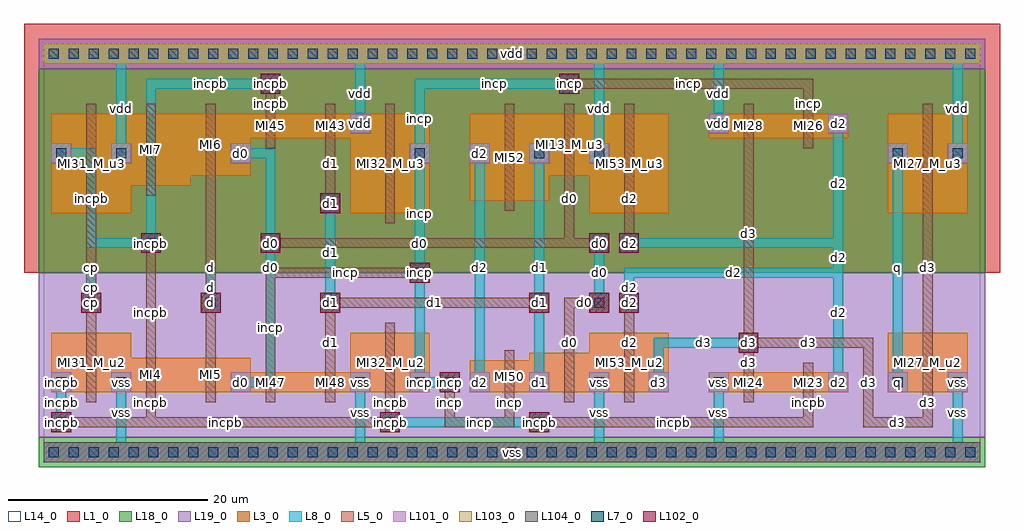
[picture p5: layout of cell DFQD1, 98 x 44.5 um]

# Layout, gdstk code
import gdstk
lib = gdstk.Library(unit=1e-6, precision=1e-09)
def R(c, l, rs):  # rectangles x0, y0, x1, y1
    for r in rs: c.add(gdstk.rectangle(r[:2], r[2:], *l))
def A(c, l, x, y, w, h, nx, ny, dx, dy):  # array of equal rectangles
    R(c, l, [(x+i*dx, y+j*dy, x+i*dx+w, y+j*dy+h) for i in range(nx) for j in range(ny)])
L1_0 = (1, 0)
L3_0 = (3, 0)
L5_0 = (5, 0)
L7_0 = (7, 0)
L8_0 = (8, 0)
L13_0 = (13, 0)
L14_0 = (14, 0)
L18_0 = (18, 0)
L19_0 = (19, 0)
L101_0 = (101, 0)
L102_0 = (102, 0)
L103_0 = (103, 0)
L104_0 = (104, 0)

dfqd1 = lib.new_cell('DFQD1')
R(dfqd1, L1_0, [(-2,18,96,43)])
A(dfqd1, L3_0, 6.75, 6, 2, 2, 3, 1, 12, 0)
A(dfqd1, L3_0, 36.75, 6, 2, 2, 6, 1, 6, 0)
A(dfqd1, L3_0, 78.75, 6, 2, 2, 3, 1, 6, 0)
A(dfqd1, L3_0, 36.75, 29, 2, 2, 4, 1, 6, 0)
R(dfqd1, L3_0, [(0,-1,94,1), (0,-1,94,1), (0.75,6,8.75,12), (0.75,6,2.75,8), (6.75,6,14.75,9.5), (12.75,6,20.75,9.5), (18.75,6,26.75,8), (24.75,6,32.75,8), (30.75,6,38.75,12), (42.75,6,50.75,9.25), (48.75,6,56.75,10), (54.75,6,62.75,12), (66.75,6,74.75,8), (72.75,6,80.75,8), (84.75,6,92.75,12), (0.75,24,8.75,34), (30.75,24,38.75,34), (54.75,24,62.75,34), (84.75,24,92.75,34), (42.75,25.25,50.75,34), (6.75,26.75,14.75,34), (12.75,27.75,20.75,34), (48.75,27.75,56.75,34), (0.75,29,2.75,31), (6.75,29,8.75,31), (18.75,29,20.75,31), (84.75,29,86.75,31), (90.75,29,92.75,31), (18.75,31.5,26.75,34), (24.75,31.5,32.75,34), (66.75,31.5,74.75,34), (72.75,31.5,80.75,34), (30.75,32,32.75,34), (66.75,32,68.75,34), (78.75,32,80.75,34), (0,39,94,41), (0,39,94,41)])
A(dfqd1, L5_0, 34.25, 2.5, 1, 5, 3, 1, 6, 0)
A(dfqd1, L5_0, 3.75, 14, 2, 2, 3, 1, 12, 0)
R(dfqd1, L5_0, [(0.75,2,2.75,4), (33.75,2,35.75,4), (48.75,2,50.75,4), (1.25,2.5,35.25,3.5), (10.25,2.5,11.25,7.5), (40.25,2.5,47.25,3.5), (49.25,2.5,77.25,3.5), (76.25,2.5,77.25,7.5), (82.25,2.5,83.25,11.5), (82.25,2.5,89.25,3.5), (88.25,2.5,89.25,7.5), (4.25,5,5.25,13), (10.25,5,11.25,10.5), (16.25,5,17.25,10.5), (22.25,5,23.25,9), (28.25,5,29.25,9), (34.25,5,35.25,13), (46.25,5,47.25,10.25), (52.25,5,53.25,11), (58.25,5,59.25,13), (70.25,5,71.25,9), (76.25,5,77.25,9), (88.25,5,89.25,13), (39.75,6,41.75,8), (4.25,6.5,5.25,30.5), (10.25,6.5,11.25,21.5), (16.25,6.5,17.25,30.5), (22.25,6.5,23.25,18.5), (28.25,6.5,29.25,15.5), (52.25,6.5,53.25,15.5), (58.25,6.5,59.25,15.5), (70.25,6.5,71.25,11.5), (88.25,6.5,89.25,30.5), (69.75,10,71.75,12), (70.25,10.5,83.25,11.5), (70.25,10.5,71.25,33.5), (48.75,14,50.75,16), (54.75,14,56.75,16), (57.75,14,59.75,16), (28.25,14.5,50.25,15.5), (52.25,14.5,56.25,15.5), (36.75,17,38.75,19), (22.25,17.5,38.25,18.5), (9.75,20,11.75,22), (21.75,20,23.75,22), (54.75,20,56.75,22), (57.75,20,59.75,22), (22.25,20.5,53.25,21.5), (52.25,20.5,53.25,30.5), (52.25,20.5,56.25,21.5), (58.25,20.5,59.25,30.5), (4.25,23,5.25,35), (34.25,23,35.25,35), (58.25,23,59.25,35), (88.25,23,89.25,35), (27.75,24,29.75,26), (46.25,24.25,47.25,35), (28.25,24.5,29.25,33.5), (10.25,25.75,11.25,35), (16.25,26.75,17.25,35), (52.25,26.75,53.25,35), (22.25,30.5,23.25,35), (28.25,30.5,29.25,35), (70.25,30.5,71.25,35), (76.25,30.5,77.25,35), (22.25,32.5,23.25,37.5), (76.25,32.5,77.25,37.5), (21.75,36,23.75,38), (51.75,36,53.75,38), (52.25,36.5,77.25,37.5)])
A(dfqd1, L7_0, 0.5, -0.5, 1, 1, 47, 2, 2, 40)
A(dfqd1, L7_0, 7.25, 6.5, 1, 1, 3, 1, 12, 0)
A(dfqd1, L7_0, 37.25, 6.5, 1, 1, 3, 1, 3, 0)
A(dfqd1, L7_0, 49.25, 6.5, 1, 1, 4, 1, 6, 0)
A(dfqd1, L7_0, 79.25, 6.5, 1, 1, 3, 1, 6, 0)
A(dfqd1, L7_0, 4.25, 14.5, 1, 1, 3, 1, 12, 0)
A(dfqd1, L7_0, 37.25, 29.5, 1, 1, 4, 1, 6, 0)
R(dfqd1, L7_0, [(1.25,2.5,2.25,3.5), (34.25,2.5,35.25,3.5), (49.25,2.5,50.25,3.5), (1.25,6.5,2.25,7.5), (70.25,10.5,71.25,11.5), (49.25,14.5,50.25,15.5), (55.25,14.5,56.25,15.5), (58.25,14.5,59.25,15.5), (37.25,17.5,38.25,18.5), (10.25,20.5,11.25,21.5), (22.25,20.5,23.25,21.5), (55.25,20.5,56.25,21.5), (58.25,20.5,59.25,21.5), (28.25,24.5,29.25,25.5), (1.25,29.5,2.25,30.5), (7.25,29.5,8.25,30.5), (19.25,29.5,20.25,30.5), (85.25,29.5,86.25,30.5), (91.25,29.5,92.25,30.5), (31.25,32.5,32.25,33.5), (67.25,32.5,68.25,33.5), (79.25,32.5,80.25,33.5), (22.25,36.5,23.25,37.5), (52.25,36.5,53.25,37.5)])
A(dfqd1, L8_0, 7.25, 0.5, 1, 7, 3, 1, 24, 0)
A(dfqd1, L8_0, 6.75, 6, 2, 2, 3, 1, 12, 0)
A(dfqd1, L8_0, 36.75, 6, 2, 2, 3, 1, 3, 0)
A(dfqd1, L8_0, 48.75, 6, 2, 2, 4, 1, 6, 0)
A(dfqd1, L8_0, 78.75, 6, 2, 2, 3, 1, 6, 0)
A(dfqd1, L8_0, 37.25, 6.5, 1, 24, 3, 1, 6, 0)
A(dfqd1, L8_0, 3.75, 14, 2, 2, 3, 1, 12, 0)
A(dfqd1, L8_0, 36.75, 29, 2, 2, 4, 1, 6, 0)
R(dfqd1, L8_0, [(0,-1,94,1), (67.25,0.5,68.25,7.5), (91.25,0.5,92.25,7.5), (0.75,2,2.75,4), (33.75,2,35.75,4), (48.75,2,50.75,4), (1.25,2.5,2.25,7.5), (34.25,2.5,50.25,3.5), (0.75,6,2.75,8), (19.25,6.5,23.25,7.5), (22.25,6.5,23.25,30.5), (37.25,6.5,41.25,7.5), (61.25,6.5,62.25,11.5), (79.25,6.5,80.25,21.5), (85.25,6.5,86.25,30.5), (69.75,10,71.75,12), (61.25,10.5,71.25,11.5), (48.75,14,50.75,16), (54.75,14,56.75,16), (57.75,14,59.75,16), (4.25,14.5,5.25,18.5), (16.25,14.5,17.25,18.5), (28.25,14.5,29.25,25.5), (55.25,14.5,56.25,21.5), (58.25,14.5,59.25,18.5), (36.75,17,38.75,19), (37.25,17.5,38.25,30.5), (58.25,17.5,80.25,18.5), (79.25,17.5,80.25,21.5), (9.75,20,11.75,22), (21.75,20,23.75,22), (54.75,20,56.75,22), (57.75,20,59.75,22), (4.25,20.5,11.25,21.5), (4.25,20.5,5.25,30.5), (10.25,20.5,11.25,37.5), (58.25,20.5,80.25,21.5), (79.25,20.5,80.25,33.5), (27.75,24,29.75,26), (0.75,29,2.75,31), (6.75,29,8.75,31), (18.75,29,20.75,31), (84.75,29,86.75,31), (90.75,29,92.75,31), (1.25,29.5,5.25,30.5), (7.25,29.5,8.25,39.5), (19.25,29.5,23.25,30.5), (37.25,29.5,38.25,37.5), (55.25,29.5,56.25,39.5), (91.25,29.5,92.25,39.5), (30.75,32,32.75,34), (66.75,32,68.75,34), (78.75,32,80.75,34), (31.25,32.5,32.25,39.5), (67.25,32.5,68.25,39.5), (21.75,36,23.75,38), (51.75,36,53.75,38), (10.25,36.5,23.25,37.5), (37.25,36.5,53.25,37.5), (0,39,94,41)])
R(dfqd1, L14_0, [(0,0,94,40)])
R(dfqd1, L18_0, [(-0.5,-1.5,94.5,1.5), (-0.5,18,94.5,38.5)])
R(dfqd1, L19_0, [(-0.5,1.5,94.5,18), (-0.5,38.5,94.5,41.5)])
A(dfqd1, L101_0, 0, -1, 2, 2, 47, 2, 2, 40)
A(dfqd1, L101_0, 6.75, 6, 2, 2, 3, 1, 12, 0)
A(dfqd1, L101_0, 36.75, 6, 2, 2, 6, 1, 6, 0)
A(dfqd1, L101_0, 78.75, 6, 2, 2, 3, 1, 6, 0)
A(dfqd1, L101_0, 36.75, 29, 2, 2, 4, 1, 6, 0)
R(dfqd1, L101_0, [(0.75,6,2.75,8), (0.75,29,2.75,31), (6.75,29,8.75,31), (18.75,29,20.75,31), (84.75,29,86.75,31), (90.75,29,92.75,31), (30.75,32,32.75,34), (66.75,32,68.75,34), (78.75,32,80.75,34)])
A(dfqd1, L102_0, 3.75, 14, 2, 2, 3, 1, 12, 0)
R(dfqd1, L102_0, [(0.75,2,2.75,4), (33.75,2,35.75,4), (48.75,2,50.75,4), (39.75,6,41.75,8), (69.75,10,71.75,12), (48.75,14,50.75,16), (54.75,14,56.75,16), (57.75,14,59.75,16), (36.75,17,38.75,19), (9.75,20,11.75,22), (21.75,20,23.75,22), (54.75,20,56.75,22), (57.75,20,59.75,22), (27.75,24,29.75,26), (21.75,36,23.75,38), (51.75,36,53.75,38)])
R(dfqd1, L103_0, [(0,39,94,41)])
R(dfqd1, L104_0, [(0,-1,94,1)])
dfqd1.add(gdstk.FlexPath([(0.75,3),(92.75,3)], 0, ends="flush", simple_path=True, layer=13, datatype=0))  # L13_0
dfqd1.add(gdstk.FlexPath([(0.75,7),(92.75,7)], 0, ends="flush", simple_path=True, layer=13, datatype=0))  # L13_0
dfqd1.add(gdstk.FlexPath([(0.75,11),(92.75,11)], 0, ends="flush", simple_path=True, layer=13, datatype=0))  # L13_0
dfqd1.add(gdstk.FlexPath([(0.75,15),(92.75,15)], 0, ends="flush", simple_path=True, layer=13, datatype=0))  # L13_0
dfqd1.add(gdstk.FlexPath([(0.75,18),(92.75,18)], 0, ends="flush", simple_path=True, layer=13, datatype=0))  # L13_0
dfqd1.add(gdstk.FlexPath([(0.75,21),(92.75,21)], 0, ends="flush", simple_path=True, layer=13, datatype=0))  # L13_0
dfqd1.add(gdstk.FlexPath([(0.75,25),(92.75,25)], 0, ends="flush", simple_path=True, layer=13, datatype=0))  # L13_0
dfqd1.add(gdstk.FlexPath([(0.75,30),(92.75,30)], 0, ends="flush", simple_path=True, layer=13, datatype=0))  # L13_0
dfqd1.add(gdstk.FlexPath([(0.75,33),(92.75,33)], 0, ends="flush", simple_path=True, layer=13, datatype=0))  # L13_0
dfqd1.add(gdstk.FlexPath([(0.75,37),(92.75,37)], 0, ends="flush", simple_path=True, layer=13, datatype=0))  # L13_0
dfqd1.add(gdstk.FlexPath([(1.75,0.5),(1.75,39.5)], 0, ends="flush", simple_path=True, layer=13, datatype=0))  # L13_0
dfqd1.add(gdstk.FlexPath([(4.75,0.5),(4.75,39.5)], 0, ends="flush", simple_path=True, layer=13, datatype=0))  # L13_0
dfqd1.add(gdstk.FlexPath([(7.75,0.5),(7.75,39.5)], 0, ends="flush", simple_path=True, layer=13, datatype=0))  # L13_0
dfqd1.add(gdstk.FlexPath([(10.75,0.5),(10.75,39.5)], 0, ends="flush", simple_path=True, layer=13, datatype=0))  # L13_0
dfqd1.add(gdstk.FlexPath([(13.75,0.5),(13.75,39.5)], 0, ends="flush", simple_path=True, layer=13, datatype=0))  # L13_0
dfqd1.add(gdstk.FlexPath([(16.75,0.5),(16.75,39.5)], 0, ends="flush", simple_path=True, layer=13, datatype=0))  # L13_0
dfqd1.add(gdstk.FlexPath([(19.75,0.5),(19.75,39.5)], 0, ends="flush", simple_path=True, layer=13, datatype=0))  # L13_0
dfqd1.add(gdstk.FlexPath([(22.75,0.5),(22.75,39.5)], 0, ends="flush", simple_path=True, layer=13, datatype=0))  # L13_0
dfqd1.add(gdstk.FlexPath([(25.75,0.5),(25.75,39.5)], 0, ends="flush", simple_path=True, layer=13, datatype=0))  # L13_0
dfqd1.add(gdstk.FlexPath([(28.75,0.5),(28.75,39.5)], 0, ends="flush", simple_path=True, layer=13, datatype=0))  # L13_0
dfqd1.add(gdstk.FlexPath([(31.75,0.5),(31.75,39.5)], 0, ends="flush", simple_path=True, layer=13, datatype=0))  # L13_0
dfqd1.add(gdstk.FlexPath([(34.75,0.5),(34.75,39.5)], 0, ends="flush", simple_path=True, layer=13, datatype=0))  # L13_0
dfqd1.add(gdstk.FlexPath([(37.75,0.5),(37.75,39.5)], 0, ends="flush", simple_path=True, layer=13, datatype=0))  # L13_0
dfqd1.add(gdstk.FlexPath([(40.75,0.5),(40.75,39.5)], 0, ends="flush", simple_path=True, layer=13, datatype=0))  # L13_0
dfqd1.add(gdstk.FlexPath([(43.75,0.5),(43.75,39.5)], 0, ends="flush", simple_path=True, layer=13, datatype=0))  # L13_0
dfqd1.add(gdstk.FlexPath([(46.75,0.5),(46.75,39.5)], 0, ends="flush", simple_path=True, layer=13, datatype=0))  # L13_0
dfqd1.add(gdstk.FlexPath([(49.75,0.5),(49.75,39.5)], 0, ends="flush", simple_path=True, layer=13, datatype=0))  # L13_0
dfqd1.add(gdstk.FlexPath([(52.75,0.5),(52.75,39.5)], 0, ends="flush", simple_path=True, layer=13, datatype=0))  # L13_0
dfqd1.add(gdstk.FlexPath([(55.75,0.5),(55.75,39.5)], 0, ends="flush", simple_path=True, layer=13, datatype=0))  # L13_0
dfqd1.add(gdstk.FlexPath([(58.75,0.5),(58.75,39.5)], 0, ends="flush", simple_path=True, layer=13, datatype=0))  # L13_0
dfqd1.add(gdstk.FlexPath([(61.75,0.5),(61.75,39.5)], 0, ends="flush", simple_path=True, layer=13, datatype=0))  # L13_0
dfqd1.add(gdstk.FlexPath([(64.75,0.5),(64.75,39.5)], 0, ends="flush", simple_path=True, layer=13, datatype=0))  # L13_0
dfqd1.add(gdstk.FlexPath([(67.75,0.5),(67.75,39.5)], 0, ends="flush", simple_path=True, layer=13, datatype=0))  # L13_0
dfqd1.add(gdstk.FlexPath([(70.75,0.5),(70.75,39.5)], 0, ends="flush", simple_path=True, layer=13, datatype=0))  # L13_0
dfqd1.add(gdstk.FlexPath([(73.75,0.5),(73.75,39.5)], 0, ends="flush", simple_path=True, layer=13, datatype=0))  # L13_0
dfqd1.add(gdstk.FlexPath([(76.75,0.5),(76.75,39.5)], 0, ends="flush", simple_path=True, layer=13, datatype=0))  # L13_0
dfqd1.add(gdstk.FlexPath([(79.75,0.5),(79.75,39.5)], 0, ends="flush", simple_path=True, layer=13, datatype=0))  # L13_0
dfqd1.add(gdstk.FlexPath([(82.75,0.5),(82.75,39.5)], 0, ends="flush", simple_path=True, layer=13, datatype=0))  # L13_0
dfqd1.add(gdstk.FlexPath([(85.75,0.5),(85.75,39.5)], 0, ends="flush", simple_path=True, layer=13, datatype=0))  # L13_0
dfqd1.add(gdstk.FlexPath([(88.75,0.5),(88.75,39.5)], 0, ends="flush", simple_path=True, layer=13, datatype=0))  # L13_0
dfqd1.add(gdstk.FlexPath([(91.75,0.5),(91.75,39.5)], 0, ends="flush", simple_path=True, layer=13, datatype=0))  # L13_0
dfqd1.add(gdstk.Label('MI4', (10.75,7.75), layer=3, texttype=0))
dfqd1.add(gdstk.Label('MI23', (76.75,7), layer=3, texttype=0))
dfqd1.add(gdstk.Label('MI5', (16.75,7.75), layer=3, texttype=0))
dfqd1.add(gdstk.Label('MI47', (22.75,7), layer=3, texttype=0))
dfqd1.add(gdstk.Label('MI48', (28.75,7), layer=3, texttype=0))
dfqd1.add(gdstk.Label('MI24', (70.75,7), layer=3, texttype=0))
dfqd1.add(gdstk.Label('MI50', (46.75,7.625), layer=3, texttype=0))
dfqd1.add(gdstk.Label('MI32_M_u2', (34.75,9), layer=3, texttype=0))
dfqd1.add(gdstk.Label('MI31_M_u2', (4.75,9), layer=3, texttype=0))
dfqd1.add(gdstk.Label('MI27_M_u2', (88.75,9), layer=3, texttype=0))
dfqd1.add(gdstk.Label('MI53_M_u2', (58.75,9), layer=3, texttype=0))
dfqd1.add(gdstk.Label('MI13_M_u2', (52.75,8), layer=3, texttype=0))
dfqd1.add(gdstk.Label('MI6', (16.75,30.875), layer=3, texttype=0))
dfqd1.add(gdstk.Label('MI32_M_u3', (34.75,29), layer=3, texttype=0))
dfqd1.add(gdstk.Label('MI31_M_u3', (4.75,29), layer=3, texttype=0))
dfqd1.add(gdstk.Label('MI27_M_u3', (88.75,29), layer=3, texttype=0))
dfqd1.add(gdstk.Label('MI53_M_u3', (58.75,29), layer=3, texttype=0))
dfqd1.add(gdstk.Label('MI13_M_u3', (52.75,30.875), layer=3, texttype=0))
dfqd1.add(gdstk.Label('MI7', (10.75,30.375), layer=3, texttype=0))
dfqd1.add(gdstk.Label('MI52', (46.75,29.625), layer=3, texttype=0))
dfqd1.add(gdstk.Label('MI28', (70.75,32.75), layer=3, texttype=0))
dfqd1.add(gdstk.Label('MI26', (76.75,32.75), layer=3, texttype=0))
dfqd1.add(gdstk.Label('MI45', (22.75,32.75), layer=3, texttype=0))
dfqd1.add(gdstk.Label('MI43', (28.75,32.75), layer=3, texttype=0))
dfqd1.add(gdstk.Label('incpb', (1.75,7), layer=3, texttype=0))
dfqd1.add(gdstk.Label('incpb', (1.75,30), layer=3, texttype=0))
dfqd1.add(gdstk.Label('d2', (79.75,7), layer=3, texttype=0))
dfqd1.add(gdstk.Label('d2', (43.75,7), layer=3, texttype=0))
dfqd1.add(gdstk.Label('d2', (43.75,30), layer=3, texttype=0))
dfqd1.add(gdstk.Label('d2', (79.75,33), layer=3, texttype=0))
dfqd1.add(gdstk.Label('d0', (19.75,7), layer=3, texttype=0))
dfqd1.add(gdstk.Label('d0', (19.75,30), layer=3, texttype=0))
dfqd1.add(gdstk.Label('incp', (37.75,7), layer=3, texttype=0))
dfqd1.add(gdstk.Label('incp', (37.75,30), layer=3, texttype=0))
dfqd1.add(gdstk.Label('d1', (49.75,7), layer=3, texttype=0))
dfqd1.add(gdstk.Label('d1', (49.75,30), layer=3, texttype=0))
dfqd1.add(gdstk.Label('d3', (61.75,7), layer=3, texttype=0))
dfqd1.add(gdstk.Label('q', (85.75,7), layer=3, texttype=0))
dfqd1.add(gdstk.Label('q', (85.75,30), layer=3, texttype=0))
dfqd1.add(gdstk.Label('vss', (7.75,7), layer=3, texttype=0))
dfqd1.add(gdstk.Label('vss', (31.75,7), layer=3, texttype=0))
dfqd1.add(gdstk.Label('vss', (67.75,7), layer=3, texttype=0))
dfqd1.add(gdstk.Label('vss', (91.75,7), layer=3, texttype=0))
dfqd1.add(gdstk.Label('vss', (55.75,7), layer=3, texttype=0))
dfqd1.add(gdstk.Label('vdd', (31.75,33), layer=3, texttype=0))
dfqd1.add(gdstk.Label('vdd', (7.75,30), layer=3, texttype=0))
dfqd1.add(gdstk.Label('vdd', (91.75,30), layer=3, texttype=0))
dfqd1.add(gdstk.Label('vdd', (55.75,30), layer=3, texttype=0))
dfqd1.add(gdstk.Label('vdd', (67.75,33), layer=3, texttype=0))
dfqd1.add(gdstk.Label('incpb', (10.75,14), layer=5, texttype=0))
dfqd1.add(gdstk.Label('incpb', (10.75,21), layer=5, texttype=0))
dfqd1.add(gdstk.Label('incpb', (76.75,5), layer=5, texttype=0))
dfqd1.add(gdstk.Label('incpb', (63.25,3), layer=5, texttype=0))
dfqd1.add(gdstk.Label('incpb', (49.75,3), layer=5, texttype=0))
dfqd1.add(gdstk.Label('incpb', (34.75,3), layer=5, texttype=0))
dfqd1.add(gdstk.Label('incpb', (34.75,5), layer=5, texttype=0))
dfqd1.add(gdstk.Label('incpb', (18.25,3), layer=5, texttype=0))
dfqd1.add(gdstk.Label('incpb', (1.75,3), layer=5, texttype=0))
dfqd1.add(gdstk.Label('incpb', (10.75,5), layer=5, texttype=0))
dfqd1.add(gdstk.Label('incpb', (22.75,37), layer=5, texttype=0))
dfqd1.add(gdstk.Label('incpb', (22.75,35), layer=5, texttype=0))
dfqd1.add(gdstk.Label('d2', (58.75,21), layer=5, texttype=0))
dfqd1.add(gdstk.Label('d2', (58.75,25.5), layer=5, texttype=0))
dfqd1.add(gdstk.Label('d2', (58.75,11), layer=5, texttype=0))
dfqd1.add(gdstk.Label('d2', (58.75,15), layer=5, texttype=0))
dfqd1.add(gdstk.Label('d0', (22.75,21), layer=5, texttype=0))
dfqd1.add(gdstk.Label('d0', (37.75,21), layer=5, texttype=0))
dfqd1.add(gdstk.Label('d0', (52.75,25.5), layer=5, texttype=0))
dfqd1.add(gdstk.Label('d0', (52.75,11), layer=5, texttype=0))
dfqd1.add(gdstk.Label('d0', (54.25,15), layer=5, texttype=0))
dfqd1.add(gdstk.Label('d0', (55.75,15), layer=5, texttype=0))
dfqd1.add(gdstk.Label('d0', (55.75,21), layer=5, texttype=0))
dfqd1.add(gdstk.Label('d0', (54.25,21), layer=5, texttype=0))
dfqd1.add(gdstk.Label('d', (16.75,18.5), layer=5, texttype=0))
dfqd1.add(gdstk.Label('d', (16.75,15), layer=5, texttype=0))
dfqd1.add(gdstk.Label('incp', (22.75,12.5), layer=5, texttype=0))
dfqd1.add(gdstk.Label('incp', (30.25,18), layer=5, texttype=0))
dfqd1.add(gdstk.Label('incp', (37.75,18), layer=5, texttype=0))
dfqd1.add(gdstk.Label('incp', (52.75,37), layer=5, texttype=0))
dfqd1.add(gdstk.Label('incp', (64.75,37), layer=5, texttype=0))
dfqd1.add(gdstk.Label('incp', (76.75,35), layer=5, texttype=0))
dfqd1.add(gdstk.Label('incp', (46.75,5), layer=5, texttype=0))
dfqd1.add(gdstk.Label('incp', (43.75,3), layer=5, texttype=0))
dfqd1.add(gdstk.Label('incp', (40.75,5), layer=5, texttype=0))
dfqd1.add(gdstk.Label('incp', (40.75,7), layer=5, texttype=0))
dfqd1.add(gdstk.Label('d1', (28.75,11), layer=5, texttype=0))
dfqd1.add(gdstk.Label('d1', (28.75,15), layer=5, texttype=0))
dfqd1.add(gdstk.Label('d1', (28.75,25), layer=5, texttype=0))
dfqd1.add(gdstk.Label('d1', (28.75,29), layer=5, texttype=0))
dfqd1.add(gdstk.Label('d1', (49.75,15), layer=5, texttype=0))
dfqd1.add(gdstk.Label('d1', (39.25,15), layer=5, texttype=0))
dfqd1.add(gdstk.Label('d3', (70.75,9), layer=5, texttype=0))
dfqd1.add(gdstk.Label('d3', (76.75,11), layer=5, texttype=0))
dfqd1.add(gdstk.Label('d3', (82.75,7), layer=5, texttype=0))
dfqd1.add(gdstk.Label('d3', (85.75,3), layer=5, texttype=0))
dfqd1.add(gdstk.Label('d3', (88.75,5), layer=5, texttype=0))
dfqd1.add(gdstk.Label('d3', (70.75,11), layer=5, texttype=0))
dfqd1.add(gdstk.Label('d3', (88.75,18.5), layer=5, texttype=0))
dfqd1.add(gdstk.Label('d3', (70.75,22), layer=5, texttype=0))
dfqd1.add(gdstk.Label('cp', (4.75,18.5), layer=5, texttype=0))
dfqd1.add(gdstk.Label('cp', (4.75,15), layer=5, texttype=0))
dfqd1.add(gdstk.Label('incpb', (1.75,7), layer=101, texttype=0))
dfqd1.add(gdstk.Label('incpb', (1.75,30), layer=101, texttype=0))
dfqd1.add(gdstk.Label('d2', (79.75,7), layer=101, texttype=0))
dfqd1.add(gdstk.Label('d2', (43.75,7), layer=101, texttype=0))
dfqd1.add(gdstk.Label('d2', (43.75,30), layer=101, texttype=0))
dfqd1.add(gdstk.Label('d2', (79.75,33), layer=101, texttype=0))
dfqd1.add(gdstk.Label('d0', (19.75,7), layer=101, texttype=0))
dfqd1.add(gdstk.Label('d0', (19.75,30), layer=101, texttype=0))
dfqd1.add(gdstk.Label('incp', (37.75,7), layer=101, texttype=0))
dfqd1.add(gdstk.Label('incp', (37.75,30), layer=101, texttype=0))
dfqd1.add(gdstk.Label('d1', (49.75,7), layer=101, texttype=0))
dfqd1.add(gdstk.Label('d1', (49.75,30), layer=101, texttype=0))
dfqd1.add(gdstk.Label('d3', (61.75,7), layer=101, texttype=0))
dfqd1.add(gdstk.Label('q', (85.75,7), layer=101, texttype=0))
dfqd1.add(gdstk.Label('q', (85.75,30), layer=101, texttype=0))
dfqd1.add(gdstk.Label('vss', (7.75,7), layer=101, texttype=0))
dfqd1.add(gdstk.Label('vss', (31.75,7), layer=101, texttype=0))
dfqd1.add(gdstk.Label('vss', (67.75,7), layer=101, texttype=0))
dfqd1.add(gdstk.Label('vss', (91.75,7), layer=101, texttype=0))
dfqd1.add(gdstk.Label('vss', (55.75,7), layer=101, texttype=0))
dfqd1.add(gdstk.Label('vdd', (31.75,33), layer=101, texttype=0))
dfqd1.add(gdstk.Label('vdd', (7.75,30), layer=101, texttype=0))
dfqd1.add(gdstk.Label('vdd', (91.75,30), layer=101, texttype=0))
dfqd1.add(gdstk.Label('vdd', (55.75,30), layer=101, texttype=0))
dfqd1.add(gdstk.Label('vdd', (67.75,33), layer=101, texttype=0))
dfqd1.add(gdstk.Label('incpb', (10.75,21), layer=102, texttype=0))
dfqd1.add(gdstk.Label('incpb', (49.75,3), layer=102, texttype=0))
dfqd1.add(gdstk.Label('incpb', (34.75,3), layer=102, texttype=0))
dfqd1.add(gdstk.Label('incpb', (1.75,3), layer=102, texttype=0))
dfqd1.add(gdstk.Label('incpb', (22.75,37), layer=102, texttype=0))
dfqd1.add(gdstk.Label('d2', (58.75,21), layer=102, texttype=0))
dfqd1.add(gdstk.Label('d2', (58.75,15), layer=102, texttype=0))
dfqd1.add(gdstk.Label('d0', (22.75,21), layer=102, texttype=0))
dfqd1.add(gdstk.Label('d0', (55.75,15), layer=102, texttype=0))
dfqd1.add(gdstk.Label('d0', (55.75,21), layer=102, texttype=0))
dfqd1.add(gdstk.Label('d', (16.75,15), layer=102, texttype=0))
dfqd1.add(gdstk.Label('incp', (37.75,18), layer=102, texttype=0))
dfqd1.add(gdstk.Label('incp', (52.75,37), layer=102, texttype=0))
dfqd1.add(gdstk.Label('incp', (40.75,7), layer=102, texttype=0))
dfqd1.add(gdstk.Label('d1', (28.75,15), layer=102, texttype=0))
dfqd1.add(gdstk.Label('d1', (28.75,25), layer=102, texttype=0))
dfqd1.add(gdstk.Label('d1', (49.75,15), layer=102, texttype=0))
dfqd1.add(gdstk.Label('d3', (70.75,11), layer=102, texttype=0))
dfqd1.add(gdstk.Label('cp', (4.75,15), layer=102, texttype=0))
dfqd1.add(gdstk.Label('incpb', (1.75,7), layer=8, texttype=0))
dfqd1.add(gdstk.Label('incpb', (1.75,30), layer=8, texttype=0))
dfqd1.add(gdstk.Label('incpb', (10.75,21), layer=8, texttype=0))
dfqd1.add(gdstk.Label('incpb', (7.75,21), layer=8, texttype=0))
dfqd1.add(gdstk.Label('incpb', (4.75,25.5), layer=8, texttype=0))
dfqd1.add(gdstk.Label('incpb', (3.25,30), layer=8, texttype=0))
dfqd1.add(gdstk.Label('incpb', (49.75,3), layer=8, texttype=0))
dfqd1.add(gdstk.Label('incpb', (42.25,3), layer=8, texttype=0))
dfqd1.add(gdstk.Label('incpb', (34.75,3), layer=8, texttype=0))
dfqd1.add(gdstk.Label('incpb', (1.75,3), layer=8, texttype=0))
dfqd1.add(gdstk.Label('incpb', (1.75,5), layer=8, texttype=0))
dfqd1.add(gdstk.Label('incpb', (10.75,29), layer=8, texttype=0))
dfqd1.add(gdstk.Label('incpb', (16.75,37), layer=8, texttype=0))
dfqd1.add(gdstk.Label('incpb', (22.75,37), layer=8, texttype=0))
dfqd1.add(gdstk.Label('d2', (79.75,7), layer=8, texttype=0))
dfqd1.add(gdstk.Label('d2', (43.75,7), layer=8, texttype=0))
dfqd1.add(gdstk.Label('d2', (43.75,30), layer=8, texttype=0))
dfqd1.add(gdstk.Label('d2', (79.75,33), layer=8, texttype=0))
dfqd1.add(gdstk.Label('d2', (79.75,14), layer=8, texttype=0))
dfqd1.add(gdstk.Label('d2', (69.25,21), layer=8, texttype=0))
dfqd1.add(gdstk.Label('d2', (58.75,21), layer=8, texttype=0))
dfqd1.add(gdstk.Label('d2', (79.75,27), layer=8, texttype=0))
dfqd1.add(gdstk.Label('d2', (43.75,18.5), layer=8, texttype=0))
dfqd1.add(gdstk.Label('d2', (58.75,15), layer=8, texttype=0))
dfqd1.add(gdstk.Label('d2', (58.75,16.5), layer=8, texttype=0))
dfqd1.add(gdstk.Label('d2', (69.25,18), layer=8, texttype=0))
dfqd1.add(gdstk.Label('d2', (79.75,19.5), layer=8, texttype=0))
dfqd1.add(gdstk.Label('d0', (19.75,7), layer=8, texttype=0))
dfqd1.add(gdstk.Label('d0', (19.75,30), layer=8, texttype=0))
dfqd1.add(gdstk.Label('d0', (21.25,7), layer=8, texttype=0))
dfqd1.add(gdstk.Label('d0', (22.75,18.5), layer=8, texttype=0))
dfqd1.add(gdstk.Label('d0', (21.25,30), layer=8, texttype=0))
dfqd1.add(gdstk.Label('d0', (22.75,21), layer=8, texttype=0))
dfqd1.add(gdstk.Label('d0', (55.75,15), layer=8, texttype=0))
dfqd1.add(gdstk.Label('d0', (55.75,18), layer=8, texttype=0))
dfqd1.add(gdstk.Label('d0', (55.75,21), layer=8, texttype=0))
dfqd1.add(gdstk.Label('d', (16.75,15), layer=8, texttype=0))
dfqd1.add(gdstk.Label('d', (16.75,16.5), layer=8, texttype=0))
dfqd1.add(gdstk.Label('incp', (37.75,7), layer=8, texttype=0))
dfqd1.add(gdstk.Label('incp', (37.75,30), layer=8, texttype=0))
dfqd1.add(gdstk.Label('incp', (37.75,18), layer=8, texttype=0))
dfqd1.add(gdstk.Label('incp', (37.75,24), layer=8, texttype=0))
dfqd1.add(gdstk.Label('incp', (37.75,33.5), layer=8, texttype=0))
dfqd1.add(gdstk.Label('incp', (45.25,37), layer=8, texttype=0))
dfqd1.add(gdstk.Label('incp', (52.75,37), layer=8, texttype=0))
dfqd1.add(gdstk.Label('incp', (40.75,7), layer=8, texttype=0))
dfqd1.add(gdstk.Label('incp', (39.25,7), layer=8, texttype=0))
dfqd1.add(gdstk.Label('incp', (37.75,18.5), layer=8, texttype=0))
dfqd1.add(gdstk.Label('d1', (49.75,7), layer=8, texttype=0))
dfqd1.add(gdstk.Label('d1', (49.75,30), layer=8, texttype=0))
dfqd1.add(gdstk.Label('d1', (28.75,15), layer=8, texttype=0))
dfqd1.add(gdstk.Label('d1', (28.75,20), layer=8, texttype=0))
dfqd1.add(gdstk.Label('d1', (28.75,25), layer=8, texttype=0))
dfqd1.add(gdstk.Label('d1', (49.75,18.5), layer=8, texttype=0))
dfqd1.add(gdstk.Label('d1', (49.75,15), layer=8, texttype=0))
dfqd1.add(gdstk.Label('d3', (61.75,7), layer=8, texttype=0))
dfqd1.add(gdstk.Label('d3', (70.75,11), layer=8, texttype=0))
dfqd1.add(gdstk.Label('d3', (66.25,11), layer=8, texttype=0))
dfqd1.add(gdstk.Label('d3', (61.75,9), layer=8, texttype=0))
dfqd1.add(gdstk.Label('cp', (4.75,15), layer=8, texttype=0))
dfqd1.add(gdstk.Label('cp', (4.75,16.5), layer=8, texttype=0))
dfqd1.add(gdstk.Label('q', (85.75,7), layer=8, texttype=0))
dfqd1.add(gdstk.Label('q', (85.75,30), layer=8, texttype=0))
dfqd1.add(gdstk.Label('q', (85.75,18.5), layer=8, texttype=0))
dfqd1.add(gdstk.Label('vss', (7.75,7), layer=8, texttype=0))
dfqd1.add(gdstk.Label('vss', (7.75,4), layer=8, texttype=0))
dfqd1.add(gdstk.Label('vss', (31.75,7), layer=8, texttype=0))
dfqd1.add(gdstk.Label('vss', (31.75,4), layer=8, texttype=0))
dfqd1.add(gdstk.Label('vss', (67.75,7), layer=8, texttype=0))
dfqd1.add(gdstk.Label('vss', (67.75,4), layer=8, texttype=0))
dfqd1.add(gdstk.Label('vss', (91.75,7), layer=8, texttype=0))
dfqd1.add(gdstk.Label('vss', (91.75,4), layer=8, texttype=0))
dfqd1.add(gdstk.Label('vss', (55.75,7), layer=8, texttype=0))
dfqd1.add(gdstk.Label('vss', (55.75,4), layer=8, texttype=0))
dfqd1.add(gdstk.Label('vdd', (31.75,33), layer=8, texttype=0))
dfqd1.add(gdstk.Label('vdd', (31.75,36), layer=8, texttype=0))
dfqd1.add(gdstk.Label('vdd', (7.75,30), layer=8, texttype=0))
dfqd1.add(gdstk.Label('vdd', (7.75,34.5), layer=8, texttype=0))
dfqd1.add(gdstk.Label('vdd', (91.75,30), layer=8, texttype=0))
dfqd1.add(gdstk.Label('vdd', (91.75,34.5), layer=8, texttype=0))
dfqd1.add(gdstk.Label('vdd', (55.75,30), layer=8, texttype=0))
dfqd1.add(gdstk.Label('vdd', (55.75,34.5), layer=8, texttype=0))
dfqd1.add(gdstk.Label('vdd', (67.75,33), layer=8, texttype=0))
dfqd1.add(gdstk.Label('vdd', (67.75,36), layer=8, texttype=0))
dfqd1.add(gdstk.Label('vss', (47,0), layer=8, texttype=0))
dfqd1.add(gdstk.Label('vdd', (47,40), layer=8, texttype=0))

lib.write_gds('DFQD1.gds')
